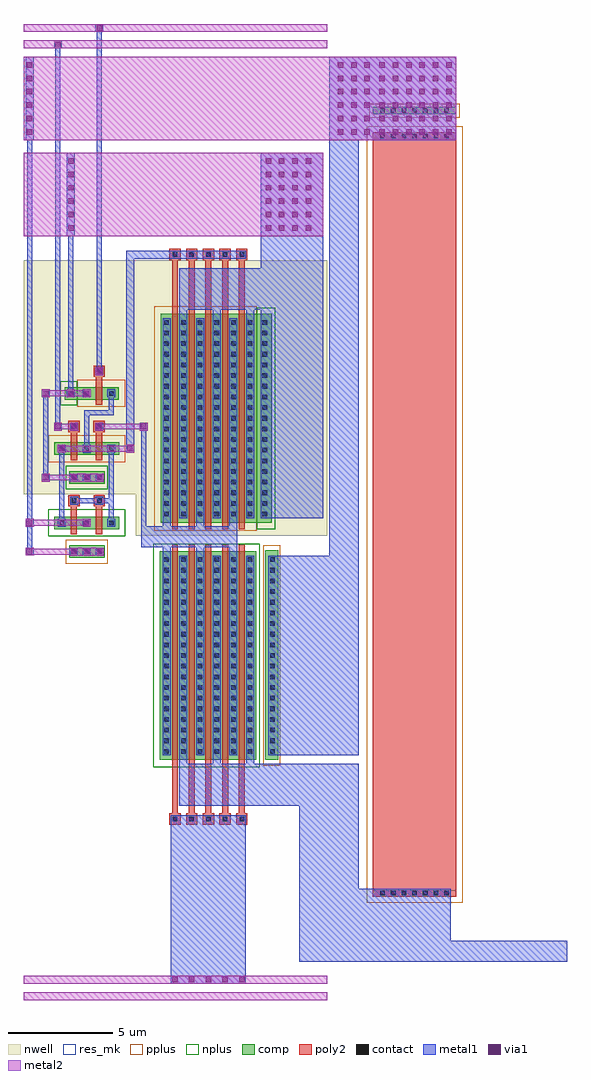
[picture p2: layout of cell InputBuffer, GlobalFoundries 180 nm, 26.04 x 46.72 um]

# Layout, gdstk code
from math import pi, radians
import gdstk
lib = gdstk.Library(unit=1e-6, precision=1e-09)
def R(c, l, rs):  # rectangles x0, y0, x1, y1
    for r in rs: c.add(gdstk.rectangle(r[:2], r[2:], *l))
def A(c, l, x, y, w, h, nx, ny, dx, dy):  # array of equal rectangles
    R(c, l, [(x+i*dx, y+j*dy, x+i*dx+w, y+j*dy+h) for i in range(nx) for j in range(ny)])
def P(c, l, *ps):  # polygons
    for p in ps: c.add(gdstk.Polygon(p, *l))
nwell = (21, 0)
comp = (22, 0)
poly2 = (30, 0)
pplus = (31, 0)
nplus = (32, 0)
contact = (33, 0)
metal1 = (34, 0)
via1 = (35, 0)
metal2 = (36, 0)
res_mk = (110, 5)

ppolyf_s_resistor = lib.new_cell('ppolyf_s_resistor')
R(ppolyf_s_resistor, comp, [(-1.51,0,-1.15,4)])
R(ppolyf_s_resistor, poly2, [(-0.29,0,36.29,4)])
R(ppolyf_s_resistor, pplus, [(-0.59,-0.3,36.59,4.3), (-1.67,-0.16,-0.99,4.16)])
A(ppolyf_s_resistor, contact, -1.44, 0.36, 0.22, 0.22, 1, 7, 0, 0.51)
A(ppolyf_s_resistor, contact, -0.22, 0.36, 0.22, 0.22, 1, 7, 0, 0.51)
A(ppolyf_s_resistor, contact, 36, 0.36, 0.22, 0.22, 1, 7, 0, 0.51)
R(ppolyf_s_resistor, metal1, [(-1.52,0.28,-1.14,3.72), (-0.3,0.28,0.08,3.72), (35.92,0.28,36.3,3.72)])
R(ppolyf_s_resistor, res_mk, [(0,0,36,4)])

inputbuffer = lib.new_cell('InputBuffer')
R(inputbuffer, nwell, [(-16.13,7.7,-6.96,9.67), (-21.5,9.67,-6.96,20.87)])
R(inputbuffer, comp, [(-14.99,-3.04,-10.36,6.96), (-9.94,-3.04,-9.31,7), (-19.32,6.63,-17.62,7.23), (-20.02,8.01,-16.92,8.61), (-14.92,8.32,-9.62,18.32), (-19.32,10.18,-17.62,10.78), (-20.02,11.56,-16.92,12.16), (-19.53,14.21,-16.93,14.81)])
A(inputbuffer, poly2, -14.52, -6.14, 0.54, 0.54, 5, 2, 0.8, 27.02)
A(inputbuffer, poly2, -14.39, -5.6, 0.28, 12.87, 5, 2, 0.8, 13.61)
R(inputbuffer, poly2, [(-19.24,7.76,-18.94,9.1), (-18.03,7.76,-17.73,9.1), (-19.35,9.1,-18.81,9.64), (-18.14,9.1,-17.6,9.64), (-19.23,11.31,-18.93,12.65), (-18.03,11.31,-17.73,12.65), (-19.35,12.65,-18.81,13.19), (-18.15,12.65,-17.61,13.19), (-18.03,13.96,-17.73,15.3), (-18.14,15.3,-17.6,15.84)])
R(inputbuffer, pplus, [(-10.02,-3.31,-9.22,7.23), (-19.47,6.36,-17.47,7.5), (-15.24,7.94,-10.34,18.69), (-20.32,11.21,-16.62,12.51), (-18.93,13.86,-16.63,15.16)])
R(inputbuffer, nplus, [(-15.29,-3.39,-10.18,7.31), (-20.32,7.66,-16.62,8.96), (-10.34,8.005,-9.46,18.615), (-19.47,9.91,-17.47,11.05), (-19.73,13.94,-18.93,15.08)])
A(inputbuffer, contact, -14.36, -5.98, 0.22, 0.22, 5, 2, 0.8, 27.02)
A(inputbuffer, contact, -14.76, -2.74, 0.22, 0.22, 6, 19, 0.8, 0.51)
A(inputbuffer, contact, -9.7, -2.74, 0.22, 0.22, 1, 19, 0, 0.51)
A(inputbuffer, contact, -19.2, 6.82, 0.22, 0.22, 3, 2, 0.62, 3.55)
A(inputbuffer, contact, -14.76, 8.62, 0.22, 0.22, 6, 19, 0.8, 0.51)
A(inputbuffer, contact, -10.06, 8.62, 0.22, 0.22, 1, 19, 0, 0.51)
R(inputbuffer, contact, [(-19.77,8.2,-19.55,8.42), (-18.59,8.2,-18.37,8.42), (-17.4,8.2,-17.18,8.42), (-19.19,9.26,-18.97,9.48), (-17.98,9.26,-17.76,9.48), (-19.77,11.75,-19.55,11.97), (-18.59,11.75,-18.37,11.97), (-17.4,11.75,-17.18,11.97), (-19.19,12.81,-18.97,13.03), (-17.99,12.81,-17.77,13.03), (-19.34,14.4,-19.12,14.62), (-18.59,14.4,-18.37,14.62), (-17.4,14.4,-17.18,14.62), (-17.98,15.46,-17.76,15.68)])
A(inputbuffer, metal1, -14.44, -6.06, 0.38, 0.38, 5, 2, 0.8, 27.02)
A(inputbuffer, metal1, -14.04, -3.22, 0.38, 0.4, 3, 2, 1.6, 21.32)
A(inputbuffer, metal1, -14.84, -2.82, 0.38, 9.56, 6, 2, 0.8, 11.36)
A(inputbuffer, metal1, -19.28, 6.74, 0.38, 0.38, 3, 2, 0.62, 3.55)
A(inputbuffer, metal1, -14.84, 6.74, 0.38, 0.4, 3, 2, 1.6, 1.4)
R(inputbuffer, metal1, [(-14.44,-13.75,-10.86,-5.68), (-8.29,-12.7,-5.46,-3.22), (-8.29,-12.7,-1.06,-9.21), (-1.06,-12.7,4.54,-11.7), (-14.44,-6.06,-10.86,-5.68), (-14.04,-5.22,-5.46,-3.22), (-9.78,-2.82,-5.46,6.74), (-9.78,-2.82,-9.4,6.74), (-6.86,-2.82,-5.46,30.63), (-21.4,6.75,-21.02,7.13), (-21.33,6.8,-21.09,30.63), (-15.87,7.14,-15.63,13.04), (-15.87,7.14,-11.26,8.14), (-14.84,7.14,-11.26,8.14), (-21.4,8.12,-21.02,8.5), (-19.85,8.12,-19.47,8.5), (-18.67,8.12,-18.29,8.5), (-17.48,8.12,-17.1,8.5), (-19.78,8.19,-19.54,11.98), (-17.41,8.19,-17.17,11.98), (-10.14,8.54,-9.76,18.1), (-10.14,8.54,-7.14,26.03), (-19.27,9.18,-18.89,9.56), (-18.06,9.18,-17.68,9.56), (-19.2,9.25,-17.17,9.49), (-20.62,10.29,-20.24,10.67), (-20.55,10.34,-20.31,14.63), (-19.85,11.67,-19.47,12.05), (-18.67,11.67,-18.29,12.05), (-17.48,11.67,-17.1,12.05), (-16.59,11.67,-16.21,21.34), (-18.6,11.74,-18.36,13.71), (-20.04,12.73,-19.66,13.11), (-19.97,12.73,-19.73,31.41), (-19.27,12.73,-18.89,13.11), (-18.07,12.73,-17.69,13.11), (-15.94,12.73,-15.56,13.11), (-18.6,13.47,-17.17,13.71), (-17.41,13.47,-17.17,14.63), (-20.62,14.32,-20.24,14.7), (-19.42,14.32,-19.04,14.7), (-19.35,14.32,-19.11,26.03), (-18.67,14.32,-18.29,14.7), (-17.48,14.32,-17.1,14.7), (-18.06,15.38,-17.68,15.76), (-17.99,15.38,-17.75,32.19), (-14.04,18.5,-8.14,20.5), (-21.33,18.92,-21.09,30.63), (-16.59,20.96,-10.86,21.34), (-14.44,20.96,-10.86,21.34), (-19.42,22.03,-19.04,26.03), (-21.4,26.63,-21.02,30.63), (-6.86,26.63,-0.78,30.63), (-20.04,31.03,-19.66,31.41), (-18.06,31.81,-17.68,32.19)])
P(inputbuffer, metal1, [(-18.6,11.73),(-18.6,11.73),(-18.6,11.73),(-18.6,11.73)])
A(inputbuffer, via1, -14.38, -13.68, 0.26, 0.26, 5, 1, 0.8, 0)
A(inputbuffer, via1, -19.22, 6.8, 0.26, 0.26, 3, 2, 0.62, 3.55)
A(inputbuffer, via1, -19.36, 22.3, 0.26, 0.26, 1, 6, 0, 0.64)
A(inputbuffer, via1, -9.91, 22.3, 0.26, 0.26, 3, 6, 0.64, 0.64)
A(inputbuffer, via1, -7.98, 22.3, 0.26, 0.26, 1, 6, 0, 0.64)
A(inputbuffer, via1, -21.34, 26.9, 0.26, 0.26, 1, 6, 0, 0.64)
A(inputbuffer, via1, -6.46, 26.9, 0.26, 0.26, 3, 6, 0.64, 0.64)
A(inputbuffer, via1, -4.46, 26.9, 0.26, 0.26, 3, 6, 0.64, 0.64)
A(inputbuffer, via1, -2.55, 26.9, 0.26, 0.26, 3, 6, 0.64, 0.64)
R(inputbuffer, via1, [(-21.34,6.81,-21.08,7.07), (-21.34,8.18,-21.08,8.44), (-18.61,8.18,-18.35,8.44), (-20.56,10.35,-20.3,10.61), (-19.79,11.73,-19.53,11.99), (-16.53,11.73,-16.27,11.99), (-19.98,12.79,-19.72,13.05), (-19.21,12.79,-18.95,13.05), (-18.01,12.79,-17.75,13.05), (-15.88,12.79,-15.62,13.05), (-20.56,14.38,-20.3,14.64), (-19.36,14.38,-19.1,14.64), (-18.61,14.38,-18.35,14.64), (-18,15.44,-17.74,15.7), (-19.98,31.09,-19.72,31.35), (-18,31.87,-17.74,32.13)])
A(inputbuffer, metal2, -19.28, 6.74, 0.38, 0.38, 3, 2, 0.62, 3.55)
R(inputbuffer, metal2, [(-21.5,-14.53,-6.96,-14.15), (-21.5,-13.75,-6.96,-13.37), (-19.28,6.74,-17.66,7.12), (-21.4,6.75,-21.02,7.13), (-21.35,6.79,-17.71,7.07), (-21.4,8.12,-21.02,8.5), (-18.67,8.12,-18.29,8.5), (-21.35,8.17,-18.34,8.45), (-20.62,10.29,-20.24,10.67), (-19.28,10.29,-17.66,10.67), (-20.55,10.34,-17.71,10.62), (-19.85,11.67,-19.47,12.05), (-16.59,11.67,-16.21,12.05), (-19.8,11.72,-16.26,12), (-20.04,12.73,-19.66,13.11), (-19.27,12.73,-18.89,13.11), (-18.07,12.73,-17.69,13.11), (-15.94,12.73,-15.56,13.11), (-20.04,12.78,-18.92,13.06), (-17.99,12.78,-15.63,13.06), (-20.62,14.32,-20.24,14.7), (-19.42,14.32,-19.04,14.7), (-18.67,14.32,-18.29,14.7), (-20.57,14.37,-18.34,14.65), (-18.06,15.38,-17.68,15.76), (-21.5,22.03,-7.14,26.03), (-21.5,26.63,-0.78,30.63), (-21.5,31.03,-6.96,31.41), (-21.5,31.81,-6.96,32.19)])
r = gdstk.Reference(ppolyf_s_resistor, (-0.78,26.71), rotation=3*pi/2, x_reflection=True); r.repetition = gdstk.Repetition(1, 1, v1=(0,0), v2=(0,0)); inputbuffer.add(r)

lib.write_gds('InputBuffer.gds')
